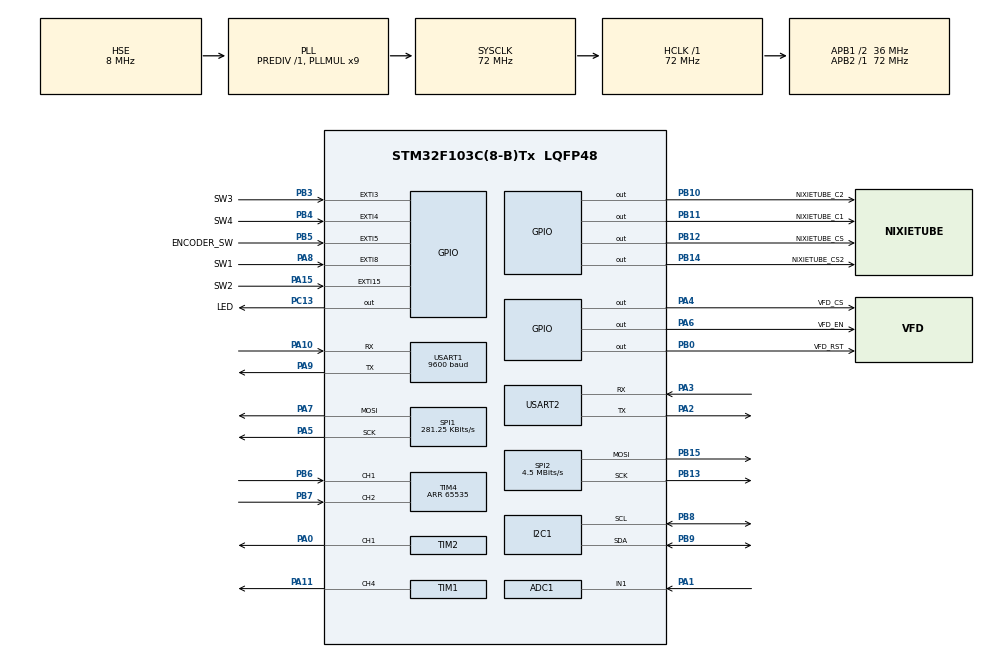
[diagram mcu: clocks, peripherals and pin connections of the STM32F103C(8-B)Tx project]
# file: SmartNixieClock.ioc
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ADC1.Channel-2\#ChannelRegularConversion=ADC_CHANNEL_1
ADC1.ContinuousConvMode=ENABLE
ADC1.NbrOfConversionFlag=1
ADC1.Rank-2\#ChannelRegularConversion=1
ADC1.SamplingTime-2\#ChannelRegularConversion=ADC_SAMPLETIME_55CYCLES_5
ADC1.master=1
FREERTOS.Tasks01=nixietubeTask,2,128,nixietubeController,Default,NULL,Static,nixietubeControBuffer,nixietubeControControlBlock;vfdTask,2,128,VFDController,Default,NULL,Static,vfdTaskBuffer,vfdTaskControlBlock;irtcTask,1,128,irtcController,Default,NULL,Static,irtcTaskBuffer,irtcTaskControlBlock;aht10Task,-2,128,AHT10Controller,Default,NULL,Static,aht10TaskBuffer,aht10TaskControlBlock;ldrTask,-1,128,LDRController,Default,NULL,Static,ldrTaskBuffer,ldrTaskControlBlock;esp8266Task,0,512,esp8266Controller,Default,NULL,Static,esp8266TaskBuffer,esp8266TaskControlBlock;buzzerTask,-2,128,buzzerController,Default,NULL,Static,buzzerTaskBuffer,buzzerTaskControlBlock;blinkTask,-3,64,blinkController,Default,NULL,Static,blinkTaskBuffer,blinkTaskControlBlock;inputController,3,128,inputControllerTask,Default,NULL,Static,inputControllerBuffer,inputControllerControlBlock;ecController,2,64,ecControllerTask,Default,NULL,Static,ecControllerBuffer,ecControllerControlBlock;ttlController,0,128,ttlControllerTask,Default,NULL,Static,ttlControllerBuffer,ttlControllerControlBlock
FREERTOS.configMINIMAL_STACK_SIZE=64
Mcu.Family=STM32F1
Mcu.Name=STM32F103C(8-B)Tx
Mcu.Package=LQFP48
NVIC.EXTI15_10_IRQn=true\:5\:0\:false\:false\:true\:true\:true\:true\:true
NVIC.EXTI3_IRQn=true\:5\:0\:false\:false\:true\:true\:true\:true\:true
NVIC.EXTI4_IRQn=true\:5\:0\:false\:false\:true\:true\:true\:true\:true
NVIC.EXTI9_5_IRQn=true\:5\:0\:false\:false\:true\:true\:true\:true\:true
NVIC.PriorityGroup=NVIC_PRIORITYGROUP_4
NVIC.RTC_IRQn=true\:5\:0\:false\:false\:true\:true\:true\:true\:true
NVIC.TIM3_IRQn=true\:15\:0\:false\:false\:true\:false\:false\:true\:true
NVIC.TIM4_IRQn=true\:5\:0\:false\:false\:true\:true\:true\:true\:true
NVIC.TimeBase=TIM3_IRQn
NVIC.TimeBaseIP=TIM3
NVIC.USART1_IRQn=true\:5\:0\:false\:false\:true\:true\:true\:true\:true
NVIC.USART2_IRQn=true\:5\:0\:false\:false\:true\:true\:true\:true\:true
PA0-WKUP.Signal=S_TIM2_CH1_ETR
PA1.Signal=ADCx_IN1
PA10.Mode=Asynchronous
PA10.Signal=USART1_RX
PA11.Signal=S_TIM1_CH4
PA13.Mode=Serial_Wire
PA13.Signal=SYS_JTMS-SWDIO
PA14.Mode=Serial_Wire
PA14.Signal=SYS_JTCK-SWCLK
PA15.GPIO_Label=SW2
PA15.GPIO_ModeDefaultEXTI=GPIO_MODE_IT_FALLING
PA15.GPIO_PuPd=GPIO_PULLUP
PA15.Signal=GPXTI15
PA2.Mode=Asynchronous
PA2.Signal=USART2_TX
PA3.Mode=Asynchronous
PA3.Signal=USART2_RX
PA4.GPIO_Label=VFD_CS
PA4.GPIO_Speed=GPIO_SPEED_FREQ_HIGH
PA4.PinState=GPIO_PIN_SET
PA4.Signal=GPIO_Output
PA5.Mode=TX_Only_Simplex_Unidirect_Master
PA5.Signal=SPI1_SCK
PA6.GPIO_Label=VFD_EN
PA6.GPIO_Speed=GPIO_SPEED_FREQ_HIGH
PA6.PinState=GPIO_PIN_SET
PA6.Signal=GPIO_Output
PA7.Mode=TX_Only_Simplex_Unidirect_Master
PA7.Signal=SPI1_MOSI
PA8.GPIO_Label=SW1
PA8.GPIO_ModeDefaultEXTI=GPIO_MODE_IT_FALLING
PA8.GPIO_PuPd=GPIO_PULLUP
PA8.Signal=GPXTI8
PA9.Mode=Asynchronous
PA9.Signal=USART1_TX
PB0.GPIO_Label=VFD_RST
PB0.GPIO_Speed=GPIO_SPEED_FREQ_HIGH
PB0.Signal=GPIO_Output
PB10.GPIO_Label=NIXIETUBE_C2
PB10.GPIO_Speed=GPIO_SPEED_FREQ_HIGH
PB10.Signal=GPIO_Output
PB11.GPIO_Label=NIXIETUBE_C1
PB11.GPIO_Speed=GPIO_SPEED_FREQ_HIGH
PB11.Signal=GPIO_Output
PB12.GPIO_Label=NIXIETUBE_CS
PB12.GPIO_Speed=GPIO_SPEED_FREQ_HIGH
PB12.Signal=GPIO_Output
PB13.Mode=TX_Only_Simplex_Unidirect_Master
PB13.Signal=SPI2_SCK
PB14.GPIO_Label=NIXIETUBE_CS2
PB14.GPIO_Speed=GPIO_SPEED_FREQ_HIGH
PB14.Signal=GPIO_Output
PB15.Mode=TX_Only_Simplex_Unidirect_Master
PB15.Signal=SPI2_MOSI
PB3.GPIO_Label=SW3
PB3.GPIO_ModeDefaultEXTI=GPIO_MODE_IT_FALLING
PB3.GPIO_PuPd=GPIO_PULLUP
PB3.Signal=GPXTI3
PB4.GPIO_Label=SW4
PB4.GPIO_ModeDefaultEXTI=GPIO_MODE_IT_FALLING
PB4.GPIO_PuPd=GPIO_PULLUP
PB4.Signal=GPXTI4
PB5.GPIO_Label=ENCODER_SW
PB5.GPIO_ModeDefaultEXTI=GPIO_MODE_IT_RISING_FALLING
PB5.GPIO_PuPd=GPIO_PULLUP
PB5.Signal=GPXTI5
PB6.Signal=S_TIM4_CH1
PB7.Signal=S_TIM4_CH2
PB8.Mode=I2C
PB8.Signal=I2C1_SCL
PB9.Mode=I2C
PB9.Signal=I2C1_SDA
PC13-TAMPER-RTC.GPIO_Label=LED
PC13-TAMPER-RTC.GPIO_Speed=GPIO_SPEED_FREQ_HIGH
PC13-TAMPER-RTC.Signal=GPIO_Output
PC14-OSC32_IN.Mode=LSE-External-Oscillator
PC14-OSC32_IN.Signal=RCC_OSC32_IN
PC15-OSC32_OUT.Mode=LSE-External-Oscillator
PC15-OSC32_OUT.Signal=RCC_OSC32_OUT
PD0-OSC_IN.Mode=HSE-External-Oscillator
PD0-OSC_IN.Signal=RCC_OSC_IN
PD1-OSC_OUT.Mode=HSE-External-Oscillator
PD1-OSC_OUT.Signal=RCC_OSC_OUT
ProjectManager.HeapSize=0x200
ProjectManager.StackSize=0x400
ProjectManager.TargetToolchain=Makefile
RCC.ADCPresc=RCC_ADCPCLK2_DIV6
RCC.AHBFreq_Value=72000000
RCC.APB1CLKDivider=RCC_HCLK_DIV2
RCC.APB1Freq_Value=36000000
RCC.APB1TimFreq_Value=72000000
RCC.APB2Freq_Value=72000000
RCC.APB2TimFreq_Value=72000000
RCC.HCLKFreq_Value=72000000
RCC.PLLMUL=RCC_PLL_MUL9
RCC.PLLSourceVirtual=RCC_PLLSOURCE_HSE
RCC.RTCClockSelection=RCC_RTCCLKSOURCE_LSE
RCC.SYSCLKFreq_VALUE=72000000
RCC.SYSCLKSource=RCC_SYSCLKSOURCE_PLLCLK
RCC.USBFreq_Value=72000000
RTC.Format=RTC_FORMAT_BIN
SH.ADCx_IN1.0=ADC1_IN1,IN1
SH.S_TIM1_CH4.0=TIM1_CH4,PWM Generation4 CH4
SH.S_TIM2_CH1_ETR.0=TIM2_CH1,PWM Generation1 CH1
SH.S_TIM4_CH1.0=TIM4_CH1,Encoder_Interface
SH.S_TIM4_CH2.0=TIM4_CH2,Encoder_Interface
SPI1.BaudRatePrescaler=SPI_BAUDRATEPRESCALER_256
SPI1.CLKPhase=SPI_PHASE_2EDGE
SPI1.CLKPolarity=SPI_POLARITY_HIGH
SPI1.CalculateBaudRate=281.25 KBits/s
SPI1.Direction=SPI_DIRECTION_2LINES
SPI1.FirstBit=SPI_FIRSTBIT_LSB
SPI1.Mode=SPI_MODE_MASTER
SPI1.VirtualType=VM_MASTER
SPI2.BaudRatePrescaler=SPI_BAUDRATEPRESCALER_8
SPI2.CLKPhase=SPI_PHASE_1EDGE
SPI2.CLKPolarity=SPI_POLARITY_LOW
SPI2.CalculateBaudRate=4.5 MBits/s
SPI2.Direction=SPI_DIRECTION_2LINES
SPI2.FirstBit=SPI_FIRSTBIT_MSB
SPI2.Mode=SPI_MODE_MASTER
SPI2.VirtualType=VM_MASTER
TIM1.AutoReloadPreload=TIM_AUTORELOAD_PRELOAD_ENABLE
TIM1.Channel-PWM\ Generation4\ CH4=TIM_CHANNEL_4
TIM1.Period=100-1
TIM1.Prescaler=72-1
TIM1.Pulse-PWM\ Generation4\ CH4=50-1
TIM2.AutoReloadPreload=TIM_AUTORELOAD_PRELOAD_DISABLE
TIM2.Channel-PWM\ Generation1\ CH1=TIM_CHANNEL_1
TIM2.Period=1000-1
TIM2.Prescaler=1
TIM2.Pulse-PWM\ Generation1\ CH1=500
TIM4.EncoderMode=TIM_ENCODERMODE_TI12
TIM4.Period=65535
USART1.BaudRate=9600
USART1.VirtualMode=VM_ASYNC
USART2.VirtualMode=VM_ASYNC
VP_FREERTOS_VS_CMSIS_V1.Mode=CMSIS_V1
VP_RTC_No_RTC_Output.Mode=RTC_OUT_NO
VP_RTC_VS_RTC_Activate.Mode=RTC_Enabled
VP_RTC_VS_RTC_Calendar.Mode=RTC_Calendar
VP_SYS_VS_tim3.Mode=TIM3
VP_TIM1_VS_ClockSourceINT.Mode=Internal
VP_TIM2_VS_ClockSourceINT.Mode=Internal
board=custom

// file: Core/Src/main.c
/* USER CODE BEGIN Header */
/**
  ******************************************************************************
  * @file           : main.c
  * @brief          : Main program body
  ******************************************************************************
  * @attention
  *
  * Copyright (c) 2023 STMicroelectronics.
  * All rights reserved.
  *
  * This software is licensed under terms that can be found in the LICENSE file
  * in the root directory of this software component.
  * If no LICENSE file comes with this software, it is provided AS-IS.
  *
  ******************************************************************************
  */
/* USER CODE END Header */
#include "main.h"
#include "cmsis_os.h"
#include "adc.h"
#include "i2c.h"
#include "rtc.h"
#include "spi.h"
#include "tim.h"
#include "usart.h"
#include "gpio.h"

void SystemClock_Config(void);
void MX_FREERTOS_Init(void);

int main(void)
{

  /* MCU Configuration--------------------------------------------------------*/

  /* Reset of all peripherals, Initializes the Flash interface and the Systick. */
  HAL_Init();

  /* Configure the system clock */
  SystemClock_Config();

  /* Initialize all configured peripherals */
  MX_GPIO_Init();
  MX_I2C1_Init();
  MX_ADC1_Init();
  MX_SPI2_Init();
  MX_TIM1_Init();
  MX_TIM2_Init();
  MX_USART1_UART_Init();
  MX_USART2_UART_Init();
  MX_TIM4_Init();
  MX_SPI1_Init();
  MX_RTC_Init();

  /* Call init function for freertos objects (in freertos.c) */
  MX_FREERTOS_Init();

  /* Start scheduler */
  osKernelStart();

  /* We should never get here as control is now taken by the scheduler */
  /* Infinite loop */
  while (1)
  {

  }
}

void SystemClock_Config(void)
{
  RCC_OscInitTypeDef RCC_OscInitStruct = {0};
  RCC_ClkInitTypeDef RCC_ClkInitStruct = {0};
  RCC_PeriphCLKInitTypeDef PeriphClkInit = {0};

  /** Initializes the RCC Oscillators according to the specified parameters
  * in the RCC_OscInitTypeDef structure.
  */
  RCC_OscInitStruct.OscillatorType = RCC_OSCILLATORTYPE_HSE|RCC_OSCILLATORTYPE_LSE;
  RCC_OscInitStruct.HSEState = RCC_HSE_ON;
  RCC_OscInitStruct.HSEPredivValue = RCC_HSE_PREDIV_DIV1;
  RCC_OscInitStruct.LSEState = RCC_LSE_ON;
  RCC_OscInitStruct.HSIState = RCC_HSI_ON;
  RCC_OscInitStruct.PLL.PLLState = RCC_PLL_ON;
  RCC_OscInitStruct.PLL.PLLSource = RCC_PLLSOURCE_HSE;
  RCC_OscInitStruct.PLL.PLLMUL = RCC_PLL_MUL9;
  if (HAL_RCC_OscConfig(&RCC_OscInitStruct) != HAL_OK)
  {
    Error_Handler();
  }

  /** Initializes the CPU, AHB and APB buses clocks
  */
  RCC_ClkInitStruct.ClockType = RCC_CLOCKTYPE_HCLK|RCC_CLOCKTYPE_SYSCLK
                              |RCC_CLOCKTYPE_PCLK1|RCC_CLOCKTYPE_PCLK2;
  RCC_ClkInitStruct.SYSCLKSource = RCC_SYSCLKSOURCE_PLLCLK;
  RCC_ClkInitStruct.AHBCLKDivider = RCC_SYSCLK_DIV1;
  RCC_ClkInitStruct.APB1CLKDivider = RCC_HCLK_DIV2;
  RCC_ClkInitStruct.APB2CLKDivider = RCC_HCLK_DIV1;

  if (HAL_RCC_ClockConfig(&RCC_ClkInitStruct, FLASH_LATENCY_2) != HAL_OK)
  {
    Error_Handler();
  }
  PeriphClkInit.PeriphClockSelection = RCC_PERIPHCLK_RTC|RCC_PERIPHCLK_ADC;
  PeriphClkInit.RTCClockSelection = RCC_RTCCLKSOURCE_LSE;
  PeriphClkInit.AdcClockSelection = RCC_ADCPCLK2_DIV6;
  if (HAL_RCCEx_PeriphCLKConfig(&PeriphClkInit) != HAL_OK)
  {
    Error_Handler();
  }
}

void HAL_TIM_PeriodElapsedCallback(TIM_HandleTypeDef *htim)
{
  if (htim->Instance == TIM3) {
    HAL_IncTick();
  }
}

void Error_Handler(void)
{
  __disable_irq();
  while (1)
  {
  }
}

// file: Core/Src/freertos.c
/* USER CODE BEGIN Header */
/**
 ******************************************************************************
 * File Name          : freertos.c
 * Description        : Code for freertos applications
 ******************************************************************************
 * @attention
 *
 * Copyright (c) 2023 STMicroelectronics.
 * All rights reserved.
 *
 * This software is licensed under terms that can be found in the LICENSE file
 * in the root directory of this software component.
 * If no LICENSE file comes with this software, it is provided AS-IS.
 *
 ******************************************************************************
 */
/* USER CODE END Header */

#include "FreeRTOS.h"
#include "task.h"
#include "main.h"
#include "cmsis_os.h"

/* USER CODE BEGIN Includes */
#include "HardwareConfig.h"
#include "VFD.h"
#include "AHT10.h"
#include "Button.h"
#include "Buzzer.h"
#include "Encoder.h"
#include "Wifi.h"
#include "LDR.h"
#include "NixieTube.h"
#include "IRTC.h"
#include "USBTTL.h"
/* USER CODE END Includes */

/* USER CODE BEGIN Variables */

// Input
uint8_t input1FreezerFlag = 0;
uint8_t input2FreezerFlag = 0;
uint8_t input3FreezerFlag = 0;
uint8_t input4FreezerFlag = 0;
uint8_t input5FreezerFlag = 0;
uint8_t input6FreezerFlag = 0;

// VFD
float progressCounter = 0.0;
uint8_t vfdTestFlag = 0;

// Setting Mode
uint8_t settingModeFlag = 0;
uint8_t configDateTimeFlag = 0;
IRTC_DateTime new_iRTC_dateTime = {0};

// IRTC
IRTC_DateTime localRTCDateTime = {0};
uint8_t saveSettingFlag = 0;
uint32_t rtcCounter = 0;
uint8_t alarmFlag = 0;
uint8_t alarmNoticationCounter = 0;
uint8_t alarmModeToggleFlag = 0;
uint8_t alarmSettingMins = 0;
uint8_t alarmSettingHours = 0;

// Countdown Mode
uint8_t countdownFlag = 0;
uint8_t countdownNoticationCounter = 0;
uint8_t countdownModeToggleFlag = 0;
uint8_t countdownSettingMins = 0;
uint8_t countdownSettingSecs = 0;
uint8_t countdownRunningModePauseFlag = 0;

// NixieTube
uint8_t nixieTubeTestCounter = 0;
uint8_t nixieTubeNumber = 0;
uint8_t nixieTubeColon = 0;
uint8_t nixieTubeDutyCycle = 0;
uint8_t Tnum[6] = {0};
uint16_t nixieTubeRefreshCounter = 0;
uint8_t nixieTubeTestFlag = 0;

/* USER CODE END Variables */
osThreadId nixietubeTaskHandle;
uint32_t nixietubeControBuffer[128];
osStaticThreadDef_t nixietubeControControlBlock;
osThreadId vfdTaskHandle;
uint32_t vfdTaskBuffer[128];
osStaticThreadDef_t vfdTaskControlBlock;
osThreadId irtcTaskHandle;
uint32_t irtcTaskBuffer[128];
osStaticThreadDef_t irtcTaskControlBlock;
osThreadId aht10TaskHandle;
uint32_t aht10TaskBuffer[128];
osStaticThreadDef_t aht10TaskControlBlock;
osThreadId ldrTaskHandle;
uint32_t ldrTaskBuffer[128];
osStaticThreadDef_t ldrTaskControlBlock;
osThreadId esp8266TaskHandle;
uint32_t esp8266TaskBuffer[512];
osStaticThreadDef_t esp8266TaskControlBlock;
osThreadId buzzerTaskHandle;
uint32_t buzzerTaskBuffer[128];
osStaticThreadDef_t buzzerTaskControlBlock;
osThreadId blinkTaskHandle;
uint32_t blinkTaskBuffer[64];
osStaticThreadDef_t blinkTaskControlBlock;
osThreadId inputControllerHandle;
uint32_t inputControllerBuffer[128];
osStaticThreadDef_t inputControllerControlBlock;
osThreadId ecControllerHandle;
uint32_t ecControllerBuffer[64];
osStaticThreadDef_t ecControllerControlBlock;
osThreadId ttlControllerHandle;
uint32_t ttlControllerBuffer[128];
osStaticThreadDef_t ttlControllerControlBlock;

void nixietubeController(void const *argument);
void VFDController(void const *argument);
void irtcController(void const *argument);
void AHT10Controller(void const *argument);
void LDRController(void const *argument);
void esp8266Controller(void const *argument);
void buzzerController(void const *argument);
void blinkController(void const *argument);
void inputControllerTask(void const *argument);
void ecControllerTask(void const *argument);
void ttlControllerTask(void const *argument);

void MX_FREERTOS_Init(void); /* (MISRA C 2004 rule 8.1) */

/* GetIdleTaskMemory prototype (linked to static allocation support) */
void vApplicationGetIdleTaskMemory(StaticTask_t **ppxIdleTaskTCBBuffer, StackType_t **ppxIdleTaskStackBuffer, uint32_t *pulIdleTaskStackSize);

/* USER CODE BEGIN GET_IDLE_TASK_MEMORY */
static StaticTask_t xIdleTaskTCBBuffer;
static StackType_t xIdleStack[configMINIMAL_STACK_SIZE];

void vApplicationGetIdleTaskMemory(StaticTask_t **ppxIdleTaskTCBBuffer, StackType_t **ppxIdleTaskStackBuffer, uint32_t *pulIdleTaskStackSize)
{
  *ppxIdleTaskTCBBuffer = &xIdleTaskTCBBuffer;
  *ppxIdleTaskStackBuffer = &xIdleStack[0];
  *pulIdleTaskStackSize = configMINIMAL_STACK_SIZE;
  /* place for user code */
}
/* USER CODE END GET_IDLE_TASK_MEMORY */

void MX_FREERTOS_Init(void)
{
  /* USER CODE BEGIN Init */
  clockCurrentStatus.operatingMode = ClockMode_Normal;
  if (newSetupFlag == 1)
  { // if new setup, set to setting mode and setup DateTime
    clockCurrentStatus.operatingMode = ClockMode_Setting;
    settingModeFlag = 7;
  }
  IRTC_Init();
  IRTC_GetRTCDateTime(&localRTCDateTime);
  /* USER CODE END Init */

  /* Create the thread(s) */
  /* definition and creation of nixietubeTask */
  osThreadStaticDef(nixietubeTask, nixietubeController, osPriorityHigh, 0, 128, nixietubeControBuffer, &nixietubeControControlBlock);
  nixietubeTaskHandle = osThreadCreate(osThread(nixietubeTask), NULL);

  /* definition and creation of vfdTask */
  osThreadStaticDef(vfdTask, VFDController, osPriorityHigh, 0, 128, vfdTaskBuffer, &vfdTaskControlBlock);
  vfdTaskHandle = osThreadCreate(osThread(vfdTask), NULL);

  /* definition and creation of irtcTask */
  osThreadStaticDef(irtcTask, irtcController, osPriorityAboveNormal, 0, 128, irtcTaskBuffer, &irtcTaskControlBlock);
  irtcTaskHandle = osThreadCreate(osThread(irtcTask), NULL);

  /* definition and creation of aht10Task */
  osThreadStaticDef(aht10Task, AHT10Controller, osPriorityLow, 0, 128, aht10TaskBuffer, &aht10TaskControlBlock);
  aht10TaskHandle = osThreadCreate(osThread(aht10Task), NULL);

  /* definition and creation of ldrTask */
  osThreadStaticDef(ldrTask, LDRController, osPriorityBelowNormal, 0, 128, ldrTaskBuffer, &ldrTaskControlBlock);
  ldrTaskHandle = osThreadCreate(osThread(ldrTask), NULL);

  /* definition and creation of esp8266Task */
  osThreadStaticDef(esp8266Task, esp8266Controller, osPriorityNormal, 0, 512, esp8266TaskBuffer, &esp8266TaskControlBlock);
  esp8266TaskHandle = osThreadCreate(osThread(esp8266Task), NULL);

  /* definition and creation of buzzerTask */
  osThreadStaticDef(buzzerTask, buzzerController, osPriorityLow, 0, 128, buzzerTaskBuffer, &buzzerTaskControlBlock);
  buzzerTaskHandle = osThreadCreate(osThread(buzzerTask), NULL);

  /* definition and creation of blinkTask */
  osThreadStaticDef(blinkTask, blinkController, osPriorityIdle, 0, 64, blinkTaskBuffer, &blinkTaskControlBlock);
  blinkTaskHandle = osThreadCreate(osThread(blinkTask), NULL);

  /* definition and creation of inputController */
  osThreadStaticDef(inputController, inputControllerTask, osPriorityRealtime, 0, 128, inputControllerBuffer, &inputControllerControlBlock);
  inputControllerHandle = osThreadCreate(osThread(inputController), NULL);

  /* definition and creation of ecController */
  osThreadStaticDef(ecController, ecControllerTask, osPriorityHigh, 0, 64, ecControllerBuffer, &ecControllerControlBlock);
  ecControllerHandle = osThreadCreate(osThread(ecController), NULL);

  /* definition and creation of ttlController */
  osThreadStaticDef(ttlController, ttlControllerTask, osPriorityNormal, 0, 128, ttlControllerBuffer, &ttlControllerControlBlock);
  ttlControllerHandle = osThreadCreate(osThread(ttlController), NULL);

}

void nixietubeController(void const *argument)
{
  /* USER CODE BEGIN nixietubeController */
  NixieTube_Init();
  osDelay(1000);
  nixieTubeRefreshCounter = clockUserSetting.nixieTubeRefreshInterval * 60000; // min to ms
  /* Infinite loop */
  for (;;)
  {

    // Avoid NixieTube burnout
    nixieTubeRefreshCounter-=225;
    if (nixieTubeRefreshCounter <= 226)
    {
      for (int i = 0; i < 10; i++)
      {
        NixieTube_SetTube1(i);
        NixieTube_SetTube2(i);
        NixieTube_Update();
        NixieTube_SetTube1(i);
        NixieTube_SetTube2(i);
        NixieTube_Update2();
        NixieTube_SetColon(i % 4);
        osDelay(100);
      }
      nixieTubeRefreshCounter = clockUserSetting.nixieTubeRefreshInterval * 60000;
    }

    if (clockUserSetting.enableAutoBrightness == 1)
    {
      NixieTube_SetBrightness(LDR_brightness);
    }
    else
    {
      NixieTube_SetBrightness(clockUserSetting.brightness);
    }

    if (clockCurrentStatus.operatingMode == ClockMode_Normal) // Normal Mode
    {
      Tnum[0] = localRTCDateTime.Hours / 10;
      Tnum[1] = localRTCDateTime.Hours % 10;
      Tnum[2] = localRTCDateTime.Minutes / 10;
      Tnum[3] = localRTCDateTime.Minutes % 10;
      if (localRTCDateTime.Seconds == 30 || localRTCDateTime.Seconds == 0)
      {
        Tnum[4] = 1;
      }
      else
      {
        Tnum[4] = 0;
      }

      NixieTube_SetTube1(Tnum[0]);
      NixieTube_SetTube2(Tnum[1]);
      NixieTube_Update();
      NixieTube_SetTube1(Tnum[2]);
      NixieTube_SetTube2(Tnum[3]);
      NixieTube_Update2();
      NixieTube_SetColon(Tnum[4]);
    }
    else if (clockCurrentStatus.operatingMode == ClockMode_Countdown)
    { // Countdown Mode
      if (clockCurrentStatus.countdownModeStatus == Counter_Pause)
      {
        NixieTube_SetTube1(countdownSettingMins / 10);
        NixieTube_SetTube2(countdownSettingMins % 10);
        NixieTube_Update();
        NixieTube_SetTube1(countdownSettingSecs / 10);
        NixieTube_SetTube2(countdownSettingSecs % 10);
        NixieTube_Update2();
        if (countdownModeToggleFlag == 1)
        {
          NixieTube_SetColon(3);
        }
        else
        {
          NixieTube_SetColon(2);
        }
      }
      else
      {
        NixieTube_SetTube1(IRTC_GetCountdownRemainingTime() / 60 / 10);
        NixieTube_SetTube2(IRTC_GetCountdownRemainingTime() / 60 % 10);
        NixieTube_Update();
        NixieTube_SetTube1(IRTC_GetCountdownRemainingTime() % 60 / 10);
        NixieTube_SetTube2(IRTC_GetCountdownRemainingTime() % 60 % 10);
        NixieTube_Update2();
        if ((IRTC_GetCountdownRemainingTime() % 60 % 10) % 10 == 0)
        {
          NixieTube_SetColon(1);
        }
        else
        {
          NixieTube_SetColon(0);
        }
      }
    }
    else if (clockCurrentStatus.operatingMode == ClockMode_Alarm)
    { // Alarm Mode
      NixieTube_SetTube1(alarmSettingHours / 10);
      NixieTube_SetTube2(alarmSettingHours % 10);
      NixieTube_Update();
      NixieTube_SetTube1(alarmSettingMins / 10);
      NixieTube_SetTube2(alarmSettingMins % 10);
      NixieTube_Update2();
      if (alarmModeToggleFlag == 1)
      {
        NixieTube_SetColon(3);
      }
      else
      {
        NixieTube_SetColon(2);
      }
    }
    else if (clockCurrentStatus.operatingMode == ClockMode_Setting)
    { // Setting Mode
      if (settingModeFlag < 5)
      {
        NixieTube_SetTube1(10);
        NixieTube_SetTube2(10);
        NixieTube_Update2();
      }
      if (settingModeFlag == 0)
      {
        if (clockUserSetting.enableAutoBrightness == 0)
        {
          NixieTube_SetTube1(clockUserSetting.brightness / 10);
          NixieTube_SetTube2(clockUserSetting.brightness % 10);
          NixieTube_Update();
        }
        else
        {
          NixieTube_SetTube1(0);
          NixieTube_SetTube2(0);
          NixieTube_Update();
        }
      }
      else if (settingModeFlag == 1)
      {
        NixieTube_SetTube1(clockUserSetting.timeZone / 10);
        NixieTube_SetTube2(clockUserSetting.timeZone % 10);
        NixieTube_Update();
      }
      else if (settingModeFlag == 2)
      {
        NixieTube_SetTube1(clockUserSetting.networkTimeSyncInterval / 10);
        NixieTube_SetTube2(clockUserSetting.networkTimeSyncInterval % 10);
        NixieTube_Update();
      }
      else if (settingModeFlag == 3)
      {
        NixieTube_SetTube1(clockUserSetting.nixieTubeRefreshInterval / 10);
        NixieTube_SetTube2(clockUserSetting.nixieTubeRefreshInterval % 10);
        NixieTube_Update();
      }
      else if (settingModeFlag == 4)
      {
        NixieTube_SetTube1(clockUserSetting.aht10RefreshInterval / 10);
        NixieTube_SetTube2(clockUserSetting.aht10RefreshInterval % 10);
        NixieTube_Update();
      }
      else if (settingModeFlag == 5)
      {
        NixieTube_SetTube1(0);
        NixieTube_SetTube2(0);
        NixieTube_Update();
        NixieTube_SetTube1(0);
        NixieTube_SetTube2(0);
        NixieTube_Update2();
        NixieTube_SetColon(1);
      }
      else if (settingModeFlag == 6)
      {
        NixieTube_SetTube1(0);
        NixieTube_SetTube2(0);
        NixieTube_Update();
        NixieTube_SetTube1(0);
        NixieTube_SetTube2(0);
        NixieTube_Update2();
        NixieTube_SetColon(1);
      }
      else if (settingModeFlag == 7)
      {
        if (configDateTimeFlag == 0)
        {
          NixieTube_SetTube1(2);
          NixieTube_SetTube2(0);
          NixieTube_Update();
          NixieTube_SetTube1(new_iRTC_dateTime.Year / 10);
          NixieTube_SetTube2(new_iRTC_dateTime.Year % 10);
          NixieTube_Update2();
        }
        else if (configDateTimeFlag == 1)
        {
          NixieTube_SetTube1(new_iRTC_dateTime.Month / 10);
          NixieTube_SetTube2(new_iRTC_dateTime.Month % 10);
          NixieTube_Update();
        }
        else if (configDateTimeFlag == 2)
        {
          NixieTube_SetTube1(new_iRTC_dateTime.Date / 10);
          NixieTube_SetTube2(new_iRTC_dateTime.Date % 10);
          NixieTube_Update();
        }
        else if (configDateTimeFlag == 3)
        {
          NixieTube_SetTube1(new_iRTC_dateTime.WeekDay / 10);
          NixieTube_SetTube2(new_iRTC_dateTime.WeekDay % 10);
          NixieTube_Update();
        }
        else if (configDateTimeFlag == 4)
        {
          NixieTube_SetTube1(new_iRTC_dateTime.Hours / 10);
          NixieTube_SetTube2(new_iRTC_dateTime.Hours % 10);
          NixieTube_Update();
        }
        else if (configDateTimeFlag == 5)
        {
          NixieTube_SetTube1(new_iRTC_dateTime.Minutes / 10);
          NixieTube_SetTube2(new_iRTC_dateTime.Minutes % 10);
          NixieTube_Update();
        }
        else if (configDateTimeFlag == 6)
        {
          NixieTube_SetTube1(new_iRTC_dateTime.Seconds / 10);
          NixieTube_SetTube2(new_iRTC_dateTime.Seconds % 10);
          NixieTube_Update();
        }
      }
    }
    else if (clockCurrentStatus.operatingMode == ClockMode_Debug)
    { // Debug Mode
      if (nixieTubeColon == 0)
      {
        nixieTubeColon = 1;
      }
      else
      {
        nixieTubeColon = 0;
      }
      nixieTubeNumber = nixieTubeTestCounter % 10;
      nixieTubeDutyCycle = nixieTubeDutyCycle + 5;
      if (nixieTubeDutyCycle >= 95)
      {
        nixieTubeDutyCycle = 0;
      }

      NixieTube_SetTube1(nixieTubeNumber);
      NixieTube_SetTube2(nixieTubeNumber);
      NixieTube_Update();

      NixieTube_SetTube1(nixieTubeNumber);
      NixieTube_SetTube2(nixieTubeNumber);
      NixieTube_Update2();
      NixieTube_SetColon(nixieTubeColon);
      if (nixieTubeTestFlag == 0)
      {
        nixieTubeTestCounter++;
      }
    }
    osDelay(200);
  }
  /* USER CODE END nixietubeController */
}

void VFDController(void const *argument)
{
  /* USER CODE BEGIN VFDController */

  uint8_t buffer[8] = {0};

  uint8_t custom_char[8][5] = {
      {0x01, 0x01, 0x01, 0x01, 0x01},
      {0x02, 0x02, 0x02, 0x02, 0x02},
      {0x04, 0x04, 0x04, 0x04, 0x04},
      {0x08, 0x08, 0x08, 0x08, 0x08},
      {0x10, 0x10, 0x10, 0x10, 0x10},
      {0x20, 0x20, 0x20, 0x20, 0x20},
      {0x40, 0x40, 0x40, 0x40, 0x40},
      {0x80, 0x80, 0x80, 0x80, 0x80},
  };
  VFD_Init();

  VFD_DisplayString(0, "SN Clock");
  osDelay(1000);
  VFD_DisplayString(0, " FW:1.0 ");
  osDelay(1000);
  /* Infinite loop */
  for (;;)
  {

    if (clockCurrentStatus.operatingMode == ClockMode_Normal) // Normal Mode
    {
      switch (localRTCDateTime.WeekDay)
      {
      case 0:
        sprintf(buffer, "SUN%02d/%02d", localRTCDateTime.Date, localRTCDateTime.Month);
        break;
      case 1:
        sprintf(buffer, "MON%02d/%02d", localRTCDateTime.Date, localRTCDateTime.Month);
        break;
      case 2:
        sprintf(buffer, "TUE%02d/%02d", localRTCDateTime.Date, localRTCDateTime.Month);
        break;
      case 3:
        sprintf(buffer, "WED%02d/%02d", localRTCDateTime.Date, localRTCDateTime.Month);
        break;
      case 4:
        sprintf(buffer, "THU%02d/%02d", localRTCDateTime.Date, localRTCDateTime.Month);
        break;
      case 5:
        sprintf(buffer, "FRI%02d/%02d", localRTCDateTime.Date, localRTCDateTime.Month);
        break;
      case 6:
        sprintf(buffer, "SAT%02d/%02d", localRTCDateTime.Date, localRTCDateTime.Month);
        break;
      default:
        sprintf(buffer, "ERR-C01");
        break;
      }
      VFD_ClearDisplay();
      VFD_DisplayString(0, buffer);
      osDelay(2000);
      VFD_ClearDisplay();
      sprintf(buffer, "Temp:%02dC", (int)aht10Data.temperature);
      VFD_DisplayString(0, buffer);
      osDelay(1000);
      VFD_ClearDisplay();
      sprintf(buffer, "Humi:%02d%%", (int)aht10Data.humidity);
      VFD_DisplayString(0, buffer);
      osDelay(1000);
      if (clockUserSetting.enableAida64Monitor == 1)
      {
        VFD_ClearDisplay();
        sprintf(buffer, "CPU:%03d%%", (int)USBTTL.aida64.cpuUsage);
        VFD_DisplayString(0, buffer);
        osDelay(1000);
        VFD_ClearDisplay();
        sprintf(buffer, "RAM:%03d%%", (int)USBTTL.aida64.ramUsage);
        VFD_DisplayString(0, buffer);
        osDelay(1000);
        // VFD_ClearDisplay();
        // sprintf(buffer, "GPU:%03d%%", (int)USBTTL.aida64.gpuUsage);
        // VFD_DisplayString(0, buffer);
        // osDelay(1000);
        // VFD_ClearDisplay();
        // sprintf(buffer, "VRAM:%02d%%", (int)USBTTL.aida64.vramUsage);
        // VFD_DisplayString(0, buffer);
        // osDelay(1000);
      }
    }
    else if (clockCurrentStatus.operatingMode == ClockMode_Countdown) // Countdown Mode
    {
      if (clockCurrentStatus.countdownModeStatus == Counter_Pause)
      {
        VFD_DisplayString(0, "CD:PAUSE");
      }
      else
      {
        progressCounter = ((float)IRTC_GetCountdownRemainingTime() / ((float)countdownSettingMins * 60 + (float)countdownSettingSecs)) * 100.0;
        if (progressCounter <= 15.0)
        {
          for (uint8_t j = 0; j < 1; j++)
          {
            VFD_DisplayChar(j, 127);
          }
          for (uint8_t j = 1; j < 8; j++)
          {
            VFD_DisplayChar(j, 0);
          }
        }
        else if (progressCounter <= 30.0)
        {
          for (uint8_t j = 0; j < 2; j++)
          {
            VFD_DisplayChar(j, 127);
          }
          for (uint8_t j = 2; j < 8; j++)
          {
            VFD_DisplayChar(j, 0);
          }
        }
        else if (progressCounter <= 45.0)
        {
          for (uint8_t j = 0; j < 4; j++)
          {
            VFD_DisplayChar(j, 127);
          }
          for (uint8_t j = 4; j < 8; j++)
          {
            VFD_DisplayChar(j, 0);
          }
        }
        else if (progressCounter <= 60.0)
        {
          for (uint8_t j = 0; j < 5; j++)
          {
            VFD_DisplayChar(j, 127);
          }
          for (uint8_t j = 5; j < 8; j++)
          {
            VFD_DisplayChar(j, 0);
          }
        }
        else if (progressCounter <= 75.0)
        {
          for (uint8_t j = 0; j < 6; j++)
          {
            VFD_DisplayChar(j, 127);
          }
          for (uint8_t j = 6; j < 8; j++)
          {
            VFD_DisplayChar(j, 0);
          }
        }
        else if (progressCounter <= 90.0)
        {
          for (uint8_t j = 0; j < 7; j++)
          {
            VFD_DisplayChar(j, 127);
          }
          for (uint8_t j = 7; j < 8; j++)
          {
            VFD_DisplayChar(j, 0);
          }
        }
        else
        {
          for (uint8_t j = 0; j < 8; j++)
          {
            VFD_DisplayChar(j, 127);
          }
        }
      }
      osDelay(100);
    }
    else if (clockCurrentStatus.operatingMode == ClockMode_Alarm) // Alarm Mode
    {
      if (clockUserSetting.enableAlarm == Alarm_ON)
      {
        VFD_DisplayString(0, "ALARM:ON ");
      }
      else
      {
        VFD_DisplayString(0, "ALARM:OFF");
      }
      osDelay(100);
    }
    else if (clockCurrentStatus.operatingMode == ClockMode_Setting) // Setting Mode
    {
      if (settingModeFlag == 0)
      {
        if (clockUserSetting.enableAutoBrightness == 0)
        {
          VFD_DisplayString(0, "ATBr:OFF");
        }
        else
        {
          VFD_DisplayString(0, "ATBr:ON ");
        }
      }
      else if (settingModeFlag == 1)
      {
        if (clockUserSetting.timeZonePosNeg == 0)
        {
          VFD_DisplayString(0, "TimeZ:+ ");
        }
        else
        {
          VFD_DisplayString(0, "TimeZ:- ");
        }
      }
      else if (settingModeFlag == 2)
      {
        if (clockUserSetting.enableNetworkSync == 0)
        {
          VFD_DisplayString(0, "NetS:OFF");
        }
        else
        {
          VFD_DisplayString(0, "NetS:ON ");
        }
      }
      else if (settingModeFlag == 3)
      {
        VFD_DisplayString(0, "NTRefres");
      }
      else if (settingModeFlag == 4)
      {
        VFD_DisplayString(0, "ATH10Ref");
      }
      else if (settingModeFlag == 5)
      {
        VFD_DisplayString(0, "ResetAll");
      }
      else if (settingModeFlag == 6)
      {
        VFD_DisplayString(0, "DebugMode");
      }
      else if (settingModeFlag == 7)
      {
        if (configDateTimeFlag == 0)
        {
          VFD_DisplayString(0, "SetYear ");
        }
        else if (configDateTimeFlag == 1)
        {
          VFD_DisplayString(0, "SetMonth");
        }
        else if (configDateTimeFlag == 2)
        {
          VFD_DisplayString(0, "SetDate ");
        }
        else if (configDateTimeFlag == 3)
        {
          VFD_DisplayString(0, "SetWeekD");
        }
        else if (configDateTimeFlag == 4)
        {
          VFD_DisplayString(0, "SetHour ");
        }
        else if (configDateTimeFlag == 5)
        {
          VFD_DisplayString(0, "SetMin  ");
        }
        else if (configDateTimeFlag == 6)
        {
          VFD_DisplayString(0, "SetSec  ");
        }
      }
      else if (settingModeFlag == 8)
      {
        if (clockUserSetting.enableAida64Monitor == 1)
        {
          VFD_DisplayString(0, "Aida:ON ");
        }
        else
        {
          VFD_DisplayString(0, "Aida:OFF");
        }
      }
      osDelay(100);
    }
    else if (clockCurrentStatus.operatingMode == ClockMode_Debug) // Debug Mode
    {
      if (vfdTestFlag == 0)
      {
        for (uint8_t i = 0; i < 8; i++)
        {
          for (uint8_t j = 0; j < 8; j++)
          {
            VFD_DisplayCustomChar(i, custom_char[i]);
            VFD_DisplayChar(j, i);
          }
          osDelay(50);
        }
        osDelay(200);
      }
      else if (vfdTestFlag == 1)
      {
        switch (localRTCDateTime.WeekDay)
        {
        case 0:
          sprintf(buffer, "SUN%02d/%02d", localRTCDateTime.Date, localRTCDateTime.Month);
          break;
        case 1:
          sprintf(buffer, "MON%02d/%02d", localRTCDateTime.Date, localRTCDateTime.Month);
          break;
        case 2:
          sprintf(buffer, "TUE%02d/%02d", localRTCDateTime.Date, localRTCDateTime.Month);
          break;
        case 3:
          sprintf(buffer, "WED%02d/%02d", localRTCDateTime.Date, localRTCDateTime.Month);
          break;
        case 4:
          sprintf(buffer, "THU%02d/%02d", localRTCDateTime.Date, localRTCDateTime.Month);
          break;
        case 5:
          sprintf(buffer, "FRI%02d/%02d", localRTCDateTime.Date, localRTCDateTime.Month);
          break;
        case 6:
          sprintf(buffer, "SAT%02d/%02d", localRTCDateTime.Date, localRTCDateTime.Month);
          break;
        default:
          sprintf(buffer, "ERR-C01");
          break;
        }
        VFD_ClearDisplay();
        VFD_DisplayString(0, buffer);
        osDelay(5000);
        VFD_ClearDisplay();
        sprintf(buffer, "Temp:%02dC", (int)aht10Data.temperature);
        VFD_DisplayString(0, buffer);
        osDelay(3000);
        VFD_ClearDisplay();
        sprintf(buffer, "Humi:%02d%%", (int)aht10Data.humidity);
        VFD_DisplayString(0, buffer);
        osDelay(3000);
      }
      else if (vfdTestFlag == 2)
      {
        VFD_DisplayString(0, "ELEC3300");
        osDelay(3000);
        VFD_DisplayString(0, "TESTMODE");
        osDelay(3000);
      }
    }
    osDelay(1);
  }
  /* USER CODE END VFDController */
}

void irtcController(void const *argument)
{
  /* USER CODE BEGIN irtcController */

  /* Infinite loop */
  for (;;)
  {
    rtcCounter = IRTC_ReadTimeCounter_Custom(&hrtc);
    IRTC_GetRTCDateTime(&localRTCDateTime);

    if (clockUserSetting.enableAlarm == Alarm_ON)
    {
      if (IRTC_GetAlarm() == 1)
      {
        alarmFlag = 1;
      }
      else
      {
        alarmFlag = 0;
        alarmNoticationCounter = 2;
      }
    }
    if (clockCurrentStatus.countdownModeStatus == Counter_Running)
    {
      if (IRTC_GetCountdownRemainingTime() <= 0)
      {
        countdownFlag = 1;
        clockCurrentStatus.countdownModeStatus = Counter_Pause;
      }
      else
      {
        countdownFlag = 0;
        countdownNoticationCounter = 2;
      }
    }

    osDelay(500);
  }
  /* USER CODE END irtcController */
}

void AHT10Controller(void const *argument)
{
  /* USER CODE BEGIN AHT10Controller */

  AHT10_Init();
  osDelay(3000);
  AHT10_Update();
  /* Infinite loop */
  for (;;)
  {
    AHT10_Update();
    osDelay(msMin * clockUserSetting.aht10RefreshInterval);
  }
  /* USER CODE END AHT10Controller */
}

void LDRController(void const *argument)
{
  /* USER CODE BEGIN LDRController */
  LDR_Init();
  osDelay(3000);
  LDR_Update();
  /* Infinite loop */
  for (;;)
  {
    if (clockUserSetting.enableAutoBrightness == 1)
    {
      LDR_Update();
      osDelay(1000);
    }
    osDelay(1);
  }
  /* USER CODE END LDRController */
}

void esp8266Controller(void const *argument)
{
  /* USER CODE BEGIN esp8266Controller */
  osDelay(1000);
  Wifi_Init();

  osDelay(3000);
  Wifi_SendStringAndWait("AT\r\n", 1000);
  Wifi_SetRfPower(82);
  Wifi_TcpIp_GetMultiConnection();
  Wifi_TcpIp_Close(0);
  Wifi_TcpIp_Close(1);
  Wifi_TcpIp_Close(2);
  Wifi_TcpIp_Close(3);
  Wifi_TcpIp_Close(4);
  Wifi_TcpIp_SetMultiConnection(true);
  Wifi_GetMode();

  Wifi_SetMode(WifiMode_Station);
  while (Wifi_Station_ConnectToAp(_WIFI_SSID, _WIFI_PASSWORD, NULL) == false)
    ;
  osDelay(3000);
  /* Infinite loop */
  for (;;)
  {
    if (clockUserSetting.enableNetworkSync == 1)
    {
      Wifi_GetMyIp();
      Wifi_TcpIp_GetConnectionStatus();
      Wifi_RxClear();
      for (uint8_t i = 0; i < 100; i++)
      {
        if (Wifi.GotNewData == true)
        {
          Wifi.GotNewData = false;
          for (uint8_t ii = 0; ii < 5; ii++)
          {
            if ((strstr(Wifi.TcpIpConnections[ii].Type, "TCP") != NULL) && (Wifi.RxDataConnectionNumber == Wifi.TcpIpConnections[ii].LinkId))
              Wifi_TcpIp_SendDataTcp(Wifi.RxDataConnectionNumber, Wifi.RxDataLen, Wifi.RxBufferForData);
          }
        }
        osDelay(10);
      }

      Wifi_TcpIp_StartTcpConnection(0, "api.k780.com", 80, 100);
      osDelay(100);
      Wifi_TcpIp_SendDataTcp(0, 104, "GET http://api.k780.com/?app=life.time&appkey={appkey}&sign={Type in your own sign}&format=json\r\n");
      if (strstr(Wifi.RxBufferForData, "success") != NULL)
      {
        memset(networkTimeStamp, 0, 10);
        memcpy(networkTimeStamp, Wifi.RxBufferForData + 38, 10);
        IRTC_SetRTCDateTime(atoi(networkTimeStamp));
      }
      osDelay(msMin * clockUserSetting.networkTimeSyncInterval);
    }
    osDelay(1);
  }
  /* USER CODE END esp8266Controller */
}

void buzzerController(void const *argument)
{
  /* USER CODE BEGIN buzzerController */
  Buzzer_Init();
  osDelay(1000);
  /* Infinite loop */
  for (;;)
  {
    if (alarmFlag == 1 && alarmNoticationCounter > 0)
    {
      Buzzer_PlayMusic(5,1);
      alarmNoticationCounter--;
    }

    if (countdownFlag == 1 && countdownNoticationCounter > 0)
    {
      Buzzer_PlayMusic(5,1);
      countdownNoticationCounter--;
    }
    osDelay(1);
  }
  /* USER CODE END buzzerController */
}

void blinkController(void const *argument)
{
  /* USER CODE BEGIN blinkController */
  HAL_GPIO_WritePin(LED_GPIO_Port, LED_Pin, GPIO_PIN_RESET);

  //Put it here

  /* Infinite loop */
  for (;;)
  {
    if (clockCurrentStatus.operatingMode == ClockMode_Debug) // Debug Mode
    {
      if (HAL_GPIO_ReadPin(LED_GPIO_Port, LED_Pin) == GPIO_PIN_SET)
      {
        HAL_GPIO_WritePin(LED_GPIO_Port, LED_Pin, GPIO_PIN_RESET);
      }
      else
      {
        HAL_GPIO_WritePin(LED_GPIO_Port, LED_Pin, GPIO_PIN_SET);
      }
      osDelay(1000);
    }
    osDelay(1);
  }
  /* USER CODE END blinkController */
}

void inputControllerTask(void const *argument)
{
  /* USER CODE BEGIN inputControllerTask */

  /* Infinite loop */
  for (;;)
  {
    BUTTON_Update();

    if (BUTTON_keyStatus[0] == Button_Released)
    {
      input1FreezerFlag = 0;
    }
    if (BUTTON_keyStatus[1] == Button_Released)
    {
      input2FreezerFlag = 0;
    }
    if (BUTTON_keyStatus[2] == Button_Released)
    {
      input3FreezerFlag = 0;
    }
    if (BUTTON_keyStatus[3] == Button_Released)
    {
      input4FreezerFlag = 0;
    }
    if (BUTTON_keyStatus[4] == Button_Released)
    {
      input5FreezerFlag = 0;
    }
    if (ENCODER_data.xValue == 0)
    {
      input6FreezerFlag = 0;
    }
    // ##########################################################################################
    if (clockCurrentStatus.operatingMode == ClockMode_Normal) // Normal Mode
    {
      if (BUTTON_keyStatus[0] == Button_Pressed && input1FreezerFlag == 0) // Countdown Shotcut
      {
        clockCurrentStatus.operatingMode = ClockMode_Countdown;
        countdownSettingMins = 0;
        countdownSettingSecs = 15;
        IRTC_SetCountdownCounter(0, 15);
        IRTC_StartCountdown();
      }
      else if (BUTTON_keyStatus[1] == Button_Pressed && input2FreezerFlag == 0) // Press K3 to enter CountdownMode
      {
        clockCurrentStatus.operatingMode = ClockMode_Countdown;
      }
      else if (BUTTON_keyStatus[2] == Button_Pressed && input3FreezerFlag == 0) // Press K4 to enter AlarmMode
      {
        clockCurrentStatus.operatingMode = ClockMode_Alarm;
      }
      else if (BUTTON_keyStatus[3] == Button_Pressed && input4FreezerFlag == 0) // Press Encoder Button to enter Setting Mode
      {
        clockCurrentStatus.operatingMode = ClockMode_Setting;
      }
    }
    // ##########################################################################################
    else if (clockCurrentStatus.operatingMode == ClockMode_Countdown) // Countdown Mode
    {
      if (clockCurrentStatus.countdownModeStatus == Counter_Pause) // Not start counting
      {

        if (input6FreezerFlag == 0) // Encoder
        {
          if (countdownModeToggleFlag == 1)
          {
            countdownSettingSecs += ENCODER_data.xValue;
            if (countdownSettingSecs >= 60 || countdownSettingSecs <= -1)
            {
              countdownSettingSecs = 0;
            }
          }
          else
          {
            countdownSettingMins += ENCODER_data.xValue;
            if (countdownSettingMins >= 100 || countdownSettingMins <= -1)
            {
              countdownSettingMins = 0;
            }
          }
          IRTC_SetCountdownCounter(countdownSettingMins, countdownSettingSecs);
        }

        if (BUTTON_keyStatus[0] == Button_Pressed && input1FreezerFlag == 0)
        {
          if (countdownModeToggleFlag == 1)
          {
            countdownModeToggleFlag = 0;
          }
          else
          {
            countdownModeToggleFlag = 1;
          }
        }
        else if (BUTTON_keyStatus[1] == Button_Pressed && input2FreezerFlag == 0)
        {
          if (countdownModeToggleFlag == 1)
          {
            if (countdownSettingSecs >= 60)
            {
              countdownSettingSecs = 0;
            }
            else
            {
              countdownSettingSecs++;
            }
          }
          else
          {
            if (countdownSettingMins >= 100)
            {
              countdownSettingMins = 0;
            }
            else
            {
              countdownSettingMins++;
            }
          }
          IRTC_SetCountdownCounter(countdownSettingMins, countdownSettingSecs);
        }
        else if (BUTTON_keyStatus[2] == Button_Pressed && input3FreezerFlag == 0)
        {
          IRTC_StartCountdown();
        }
        else if (BUTTON_keyStatus[3] == Button_Pressed && input4FreezerFlag == 0)
        {
          clockCurrentStatus.operatingMode = ClockMode_Normal;
        }
      }
      else // Start counting
      {
        if (BUTTON_keyStatus[0] == Button_Pressed && input1FreezerFlag == 0)
        {
          IRTC_StopCountdown();
          countdownSettingMins = IRTC_GetCountdownRemainingTime() / 60;
          countdownSettingSecs = IRTC_GetCountdownRemainingTime() % 60;
        }
        else if (BUTTON_keyStatus[1] == Button_Pressed)
        {
        }
        else if (BUTTON_keyStatus[2] == Button_Pressed)
        {
        }
        else if (BUTTON_keyStatus[3] == Button_Pressed)
        {
        }
      }
    }
    // ##########################################################################################
    else if (clockCurrentStatus.operatingMode == ClockMode_Alarm) // Alarm Mode
    {
      if (input6FreezerFlag == 0) // Encoder
      {
        if (alarmModeToggleFlag == 1)
        {
          alarmSettingMins += ENCODER_data.xValue;
          if (alarmSettingMins >= 60 || alarmSettingMins <= -1)
          {
            alarmSettingMins = 0;
          }
        }
        else
        {
          alarmSettingHours += ENCODER_data.xValue;
          if (alarmSettingHours >= 24 || alarmSettingHours <= -1)
          {
            alarmSettingHours = 0;
          }
        }
        IRTC_SetAlarm(0, alarmSettingHours, alarmSettingMins);
      }

      if (BUTTON_keyStatus[0] == Button_Pressed && input1FreezerFlag == 0)
      {
        if (alarmModeToggleFlag == 1)
        {
          alarmModeToggleFlag = 0;
        }
        else
        {
          alarmModeToggleFlag = 1;
        }
      }
      else if (BUTTON_keyStatus[1] == Button_Pressed && input2FreezerFlag == 0)
      {
        if (alarmModeToggleFlag == 1)
        {
          if (alarmSettingHours >= 24)
          {
            alarmSettingHours = 0;
          }
          else
          {
            alarmSettingHours++;
          }
        }
        else
        {
          if (alarmSettingMins >= 60)
          {
            alarmSettingMins = 0;
          }
          else
          {
            alarmSettingMins++;
          }
        }
        IRTC_SetAlarm(0, alarmSettingHours, alarmSettingMins);
      }
      else if (BUTTON_keyStatus[2] == Button_Pressed && input3FreezerFlag == 0)
      {
        if (clockUserSetting.enableAlarm == Alarm_ON)
        {
          clockUserSetting.enableAlarm = Alarm_OFF;
        }
        else
        {
          clockUserSetting.enableAlarm = Alarm_ON;
        }
      }
      else if (BUTTON_keyStatus[3] == Button_Pressed && input4FreezerFlag == 0)
      {
        IRTC_SaveUserSetting();
        clockCurrentStatus.operatingMode = ClockMode_Normal;
      }
    }
    // ##########################################################################################
    else if (clockCurrentStatus.operatingMode == ClockMode_Setting) // Setting Mode
    {
      if (BUTTON_keyStatus[0] == Button_Pressed && input1FreezerFlag == 0)
      {
        settingModeFlag++;
        if (settingModeFlag >= 9)
        {
          settingModeFlag = 0;
        }
      }
      else if (BUTTON_keyStatus[1] == Button_Pressed && input2FreezerFlag == 0)
      {
        if (settingModeFlag == 0)
        {
          if (clockUserSetting.enableAutoBrightness == 0)
          {
            clockUserSetting.brightness += 5;
            if (clockUserSetting.brightness >= 100)
            {
              clockUserSetting.brightness = 0;
            }
          }
        }
        else if (settingModeFlag == 1)
        {
          clockUserSetting.timeZone++;
          if (clockUserSetting.timeZone >= 14)
          {
            clockUserSetting.timeZone = 0;
          }
        }
        else if (settingModeFlag == 2)
        {
          if (clockUserSetting.enableNetworkSync == 0)
          {
          }
          else
          {
            clockUserSetting.networkTimeSyncInterval++;
            if (clockUserSetting.networkTimeSyncInterval >= 60)
            {
              clockUserSetting.networkTimeSyncInterval = 1;
            }
          }
        }
        else if (settingModeFlag == 3)
        {
          clockUserSetting.nixieTubeRefreshInterval++;
          if (clockUserSetting.nixieTubeRefreshInterval >= 60)
          {
            clockUserSetting.nixieTubeRefreshInterval = 1;
          }
        }
        else if (settingModeFlag == 4)
        {
          clockUserSetting.aht10RefreshInterval++;
          if (clockUserSetting.aht10RefreshInterval >= 60)
          {
            clockUserSetting.aht10RefreshInterval = 1;
          }
        }
        else if (settingModeFlag == 7)
        {

          if (configDateTimeFlag == 0)
          {
            new_iRTC_dateTime.Year++;
            if (new_iRTC_dateTime.Year >= 100)
            {
              new_iRTC_dateTime.Year = 0;
            }
          }
          else if (configDateTimeFlag == 1)
          {
            new_iRTC_dateTime.Month++;
            if (new_iRTC_dateTime.Month >= 13)
            {
              new_iRTC_dateTime.Month = 1;
            }
          }
          else if (configDateTimeFlag == 2)
          {
            new_iRTC_dateTime.Date++;
            if (new_iRTC_dateTime.Date >= 32)
            {
              new_iRTC_dateTime.Date = 1;
            }
          }
          else if (configDateTimeFlag == 3)
          {
            new_iRTC_dateTime.WeekDay++;
            if (new_iRTC_dateTime.WeekDay >= 6)
            {
              new_iRTC_dateTime.WeekDay = 0;
            }
          }
          else if (configDateTimeFlag == 4)
          {
            new_iRTC_dateTime.Hours++;
            if (new_iRTC_dateTime.Hours >= 24)
            {
              new_iRTC_dateTime.Hours = 0;
            }
          }
          else if (configDateTimeFlag == 5)
          {
            new_iRTC_dateTime.Minutes++;
            if (new_iRTC_dateTime.Minutes >= 60)
            {
              new_iRTC_dateTime.Minutes = 0;
            }
          }
          else if (configDateTimeFlag == 6)
          {
            new_iRTC_dateTime.Seconds++;
            if (new_iRTC_dateTime.Seconds >= 60)
            {
              new_iRTC_dateTime.Seconds = 0;
            }
          }
        }
        else if (settingModeFlag == 8)
        {
          if (clockUserSetting.enableAida64Monitor == 0)
          {
            clockUserSetting.enableAida64Monitor = 1;
          }
          else
          {
            clockUserSetting.enableAida64Monitor = 0;
          }
        }
      }
      else if (BUTTON_keyStatus[2] == Button_Pressed && input3FreezerFlag == 0)
      {
        if (settingModeFlag == 0)
        {
          if (clockUserSetting.enableAutoBrightness == 0)
          {
            clockUserSetting.enableAutoBrightness = 1;
          }
          else
          {
            clockUserSetting.enableAutoBrightness = 0;
          }
        }
        else if (settingModeFlag == 1)
        {
          if (clockUserSetting.timeZonePosNeg == 0)
          {
            clockUserSetting.timeZonePosNeg = 1;
          }
          else
          {
            clockUserSetting.timeZonePosNeg = 0;
          }
        }
        else if (settingModeFlag == 2)
        {
          if (clockUserSetting.enableNetworkSync == 0)
          {
            clockUserSetting.enableNetworkSync = 1;
          }
          else
          {
            clockUserSetting.enableNetworkSync = 0;
          }
        }
        else if (settingModeFlag == 3)
        {
        }
        else if (settingModeFlag == 4)
        {
        }
        else if (settingModeFlag == 7)
        {
          configDateTimeFlag++;
          if (configDateTimeFlag >= 8)
          {
            configDateTimeFlag = 0;
          }
        }
      }
      else if (BUTTON_keyStatus[3] == Button_Pressed && input4FreezerFlag == 0)
      {
        if (settingModeFlag == 5)
        {
          IRTC_ResetUserSetting();
          HAL_PWR_EnableBkUpAccess();
          uint32_t defaultDateTime = 1704038370; // Sun Dec 31 2023 23:59:30 GMT+0800 (Hong Kong Standard Time)
          IRTC_WriteTimeCounter_Custom(&hrtc, defaultDateTime);
          HAL_PWR_DisableBkUpAccess();
          clockCurrentStatus.operatingMode = ClockMode_Normal;
        }
        else if (settingModeFlag == 6)
        {
          clockCurrentStatus.operatingMode = ClockMode_Debug;
        }
        else if (settingModeFlag == 7)
        {
          HAL_PWR_EnableBkUpAccess();
          struct tm stmT;
          stmT.tm_year = new_iRTC_dateTime.Year + 100;
          stmT.tm_mon = new_iRTC_dateTime.Month - 1;
          stmT.tm_mday = new_iRTC_dateTime.Date;
          if (clockUserSetting.timeZonePosNeg == 0)
          {
            stmT.tm_hour = new_iRTC_dateTime.Hours - clockUserSetting.timeZone;
          }
          else
          {
            stmT.tm_hour = new_iRTC_dateTime.Hours + clockUserSetting.timeZone;
          }
          stmT.tm_min = new_iRTC_dateTime.Minutes;
          stmT.tm_sec = new_iRTC_dateTime.Seconds;

          uint32_t newDateTime = mktime(&stmT);
          IRTC_WriteTimeCounter_Custom(&hrtc, newDateTime);
          HAL_PWR_DisableBkUpAccess();
          clockCurrentStatus.operatingMode = ClockMode_Normal;
          nixieTubeRefreshCounter = clockUserSetting.nixieTubeRefreshInterval * 60000;
        }
        else
        {
          nixieTubeRefreshCounter = clockUserSetting.nixieTubeRefreshInterval * 60000;
          IRTC_SaveUserSetting();
          clockCurrentStatus.operatingMode = ClockMode_Normal;
        }
      }
    }
    // ##########################################################################################
    else if (clockCurrentStatus.operatingMode == ClockMode_Debug) // Debug Mode
    {
      if (BUTTON_keyStatus[0] == Button_Pressed && input1FreezerFlag == 0) // Test Buzzer
      {
        alarmNoticationCounter = 1;
        alarmFlag = 1;
      }
      else if (BUTTON_keyStatus[1] == Button_Pressed && input2FreezerFlag == 0) // Test VFD
      {
        vfdTestFlag++;
        if (vfdTestFlag >= 3)
        {
          vfdTestFlag = 0;
        }
      }
      else if (BUTTON_keyStatus[2] == Button_Pressed && input3FreezerFlag == 0) // Test NixieTube
      {
        nixieTubeTestFlag++;
        if (nixieTubeTestFlag >= 2)
        {
          nixieTubeTestFlag = 0;
        }
      }
      else if (BUTTON_keyStatus[3] == Button_Pressed && input4FreezerFlag == 0) // Test Write BK reg
      {
        // clockUserSetting.otherSetting += 5;
        // IRTC_SaveUserSetting();
        // saveSettingFlag++;
        IRTC_ReadUserSetting();
      }
      else if (BUTTON_keyStatus[4] == Button_Pressed) // Test reset DateTime
      {
        IRTC_ResetUserSetting();
        HAL_PWR_EnableBkUpAccess();
        uint32_t defaultDateTime = 1704038370; // Sun Dec 31 2023 23:59:30 GMT+0800 (Hong Kong Standard Time)
        IRTC_WriteTimeCounter_Custom(&hrtc, defaultDateTime);
        HAL_PWR_DisableBkUpAccess();
      }
    }
    // ##########################################################################################
    if (BUTTON_keyStatus[0] == Button_Pressed)
    {
      input1FreezerFlag = 1;
    }
    if (BUTTON_keyStatus[1] == Button_Pressed)
    {
      input2FreezerFlag = 1;
    }
    if (BUTTON_keyStatus[2] == Button_Pressed)
    {
      input3FreezerFlag = 1;
    }
    if (BUTTON_keyStatus[3] == Button_Pressed)
    {
      input4FreezerFlag = 1;
    }
    if (BUTTON_keyStatus[4] == Button_Pressed)
    {
      input5FreezerFlag = 1;
    }

    if (ENCODER_data.xValue != 0)
    {
      input6FreezerFlag = 1;
    }
    osDelay(1);
  }
  /* USER CODE END inputControllerTask */
}

void ecControllerTask(void const *argument)
{
  /* USER CODE BEGIN ecControllerTask */
  ENCODER_Init();
  /* Infinite loop */
  for (;;)
  {
    ENCODER_Update();
    osDelay(1);
  }
  /* USER CODE END ecControllerTask */
}

void ttlControllerTask(void const *argument)
{
  /* USER CODE BEGIN ttlControllerTask */
  /* Infinite loop */
  for (;;)
  {
    if (clockUserSetting.enableAida64Monitor == 1)
    {
      USBTTL_GetAida64Data();
      osDelay(1000);
    }
    osDelay(1);
  }
  /* USER CODE END ttlControllerTask */
}
